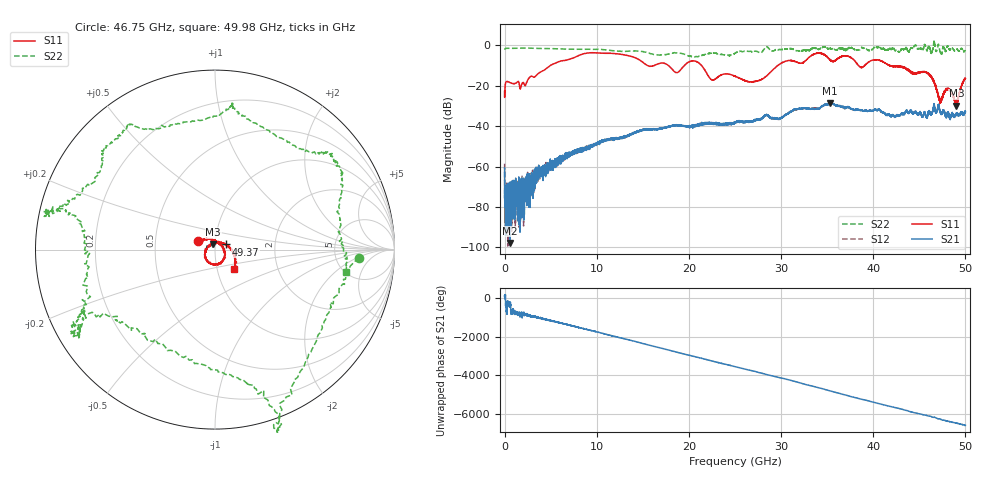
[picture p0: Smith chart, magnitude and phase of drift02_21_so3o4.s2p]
!Created with skrf (http://scikit-rf.org).
# Hz S RI R 50.0
!freq ReS11 ImS11 ReS21 ImS21 ReS12 ImS12 ReS22 ImS22
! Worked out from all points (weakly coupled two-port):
!   10001 points, 300 kHz to 50 GHz, reference 50 ohm
!   highest |S21| = -28.49 dB at 35.32 GHz (marker M1); lowest = -97.8 dB at 580.3 MHz (marker M2)
!   lowest |S11| = -29.9 dB at 49.02 GHz (marker M3), VSWR 1.07, Z = 48.9 + j2.95 ohm
!   |S11| at or under -10 dB: start of sweep to 4.957 GHz; 21.38 GHz to 29.63 GHz (8.252 GHz wide, 32.4 % of centre); 41.87 GHz to end of sweep (the widest 3 of 11)
!   |S22| runs from -5.7 to 2.4 dB; largest |S21 - S12| = 0.0036
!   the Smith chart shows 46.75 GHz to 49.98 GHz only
!   S11 on the Smith chart (normalised r, x): 46.75 GHz: 0.83, +0.08; 49.37 GHz: 1.13, +0.07; 49.98 GHz: 1.20, -0.27
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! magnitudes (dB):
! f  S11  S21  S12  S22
! 300 kHz  -22.6  -60.7  -58.6  -2.1
! 255.3 MHz  -17.9  -75.7  -76.3  -1.4
! 580.3 MHz  -18.4  -97.8  -70.8  -1.5
! 1.87 GHz  -19.1  -71.7  -73.0  -1.3
! 8.335 GHz  -4.5  -52.5  -51.7  -1.9
! 16.67 GHz  -9.1  -41.4  -41.5  -4.7
! 18.7 GHz  -13.5  -39.6  -39.6  -3.7
! 20.6 GHz  -7.7  -39.9  -40.0  -5.7
! 22.5 GHz  -17.1  -38.8  -38.9  -3.8
! 25 GHz  -15.3  -38.2  -38.4  -3.9
! 27.47 GHz  -17.6  -36.8  -36.7  -3.2
! 33.34 GHz  -4.9  -31.3  -31.3  -1.6
! 35.32 GHz  -7.2  -28.5  -28.7  -1.4
! 41.67 GHz  -9.7  -33.9  -34.2  -1.9
! 45.75 GHz  -13.4  -35.7  -35.4  -1.5
! 46.75 GHz  -19.6  -32.7  -32.7  -1.9
! 47.27 GHz  -27.6  -33.1  -32.9  -3.3
! 48.12 GHz  -21.1  -32.9  -33.3  -0.5
! 49.02 GHz  -29.9  -34.1  -34.0  -2.0
! 49.37 GHz  -23.3  -34.2  -34.1  -2.8
! 49.98 GHz  -16.4  -32.6  -32.9  -2.6
! 50 GHz  -16.4  -33.0  -32.9  -2.7
